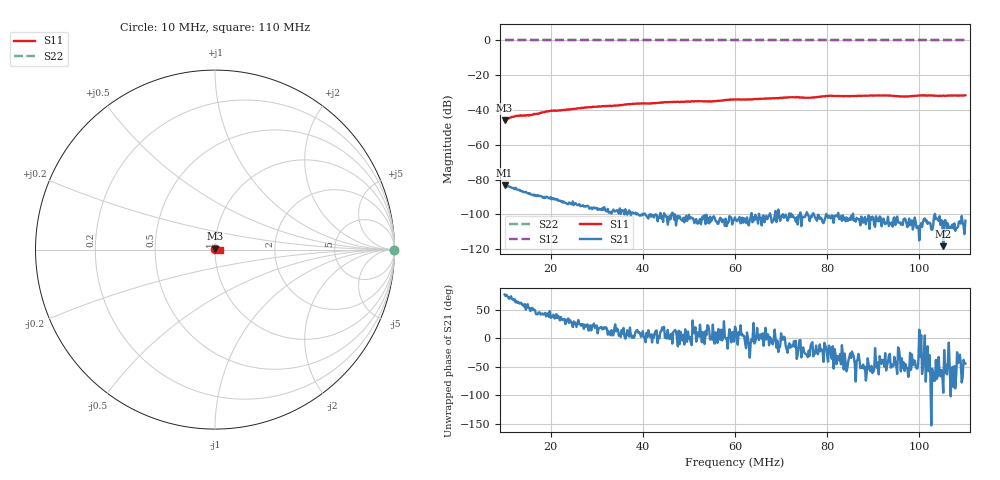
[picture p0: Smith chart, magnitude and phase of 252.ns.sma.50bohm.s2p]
! Anritsu VNA Master:  Model: MS2036C/10/77
! SN:  1601066
! /card0/usr/ns.50bohm.s2p
! Existing Calibration Information:
! TYPE:  Current Settings,  Active Cal Settings
! TIME:  12/21/2017 04:58:43 PM,  12/21/2017 04:46:01 PM
! INTERNAL TEMP:  40.8 C,  41.5 C
! # POINTS:  501,  501
! START FREQ:  10.000 MHz,  10.000 MHz
! STOP FREQ:  110.000 MHz,  110.000 MHz
! SOURCE POWER:  High,  High
! IFBW:  100 Hz,  100 Hz
! AVG FACTOR:  1 ,  1
! REF PLANE 1:  0 mm,  0 mm
! REF PLANE 2:  0 mm,  0 mm
! CAL TYPE:  Full S11,  Full S11
! CAL METHOD:  SOLT,  SOLT
! CAL LINE TYPE:  Coax,  Coax
! DUT PORT 1:  K-Conn(F),  K-Conn(F)
! DUT PORT 2:  K-Conn(F),  K-Conn(F)
! CAL STATUS:  OK: Accuracy High,  --
# GHZ S DB R 50.0
! FREQ.GHZ  S11DB  S11A  S21DB  S21A  S12DB  S12A  S22DB  S22A
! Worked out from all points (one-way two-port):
!   501 points, 10 MHz to 110 MHz, reference 50 ohm
!   highest |S21| = -83.26 dB at 10 MHz (marker M1); lowest = -118.3 dB at 105.2 MHz (marker M2)
!   lowest |S11| = -46.0 dB at 10 MHz (marker M3), VSWR 1.01, Z = 50.2 + j0.478 ohm
!   |S11| at or under -10 dB: start of sweep to end of sweep
!   |S22| runs from 0.0 to 0.0 dB; largest |S21 - S12| = 1
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0.01  -45.99 71.9  -83.26 76.4  0.00 0.0  0.00 0.0
0.0108  -44.73 72.2  -83.82 71.6  0.00 0.0  0.00 0.0
0.0126  -43.29 72.1  -85.58 64.6  0.00 0.0  0.00 0.0
0.0156  -42.98 69.5  -88.51 47.6  0.00 0.0  0.00 0.0
0.02  -40.45 64.5  -90.05 35.6  0.00 0.0  0.00 0.0
0.0222  -40.25 64.4  -92.58 37.4  0.00 0.0  0.00 0.0
0.0268  -38.74 59.4  -95.13 24.9  0.00 0.0  0.00 0.0
0.0344  -37.38 53.8  -97.58 17.2  0.00 0.0  0.00 0.0
0.0382  -36.46 51.9  -99.48 3.4  0.00 0.0  0.00 0.0
0.0434  -35.86 47.8  -101.50 3.8  0.00 0.0  0.00 0.0
0.051  -35.02 43.8  -102.99 10.0  0.00 0.0  0.00 0.0
0.0552  -34.97 39.1  -101.60 23.9  0.00 0.0  0.00 0.0
0.06  -33.97 36.2  -101.80 20.2  0.00 0.0  0.00 0.0
0.0636  -33.92 32.6  -99.28 -1.4  0.00 0.0  0.00 0.0
0.072  -32.72 27.0  -101.58 -16.5  0.00 0.0  0.00 0.0
0.0768  -32.91 22.3  -100.07 -6.8  0.00 0.0  0.00 0.0
0.0804  -31.88 20.9  -100.90 -12.8  0.00 0.0  0.00 0.0
0.0934  -31.72 16.5  -106.76 -30.7  0.00 0.0  0.00 0.0
0.0972  -32.23 11.1  -105.00 -51.2  0.00 0.0  0.00 0.0
0.1004  -31.62 7.4  -105.05 5.5  0.00 0.0  0.00 0.0
0.1052  -31.69 4.0  -118.33 -95.2  0.00 0.0  0.00 0.0
0.11  -31.56 0.4  -103.63 -44.1  0.00 0.0  0.00 0.0
